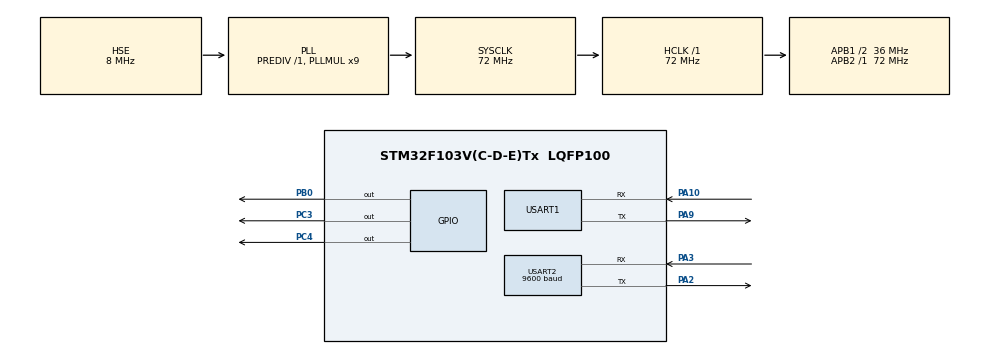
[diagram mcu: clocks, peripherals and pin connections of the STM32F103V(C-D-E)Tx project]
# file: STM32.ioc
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Dma.Request0=USART2_RX
Dma.Request1=USART2_TX
Dma.USART2_RX.0.Direction=DMA_PERIPH_TO_MEMORY
Dma.USART2_RX.0.Instance=DMA1_Channel6
Dma.USART2_RX.0.MemDataAlignment=DMA_MDATAALIGN_BYTE
Dma.USART2_RX.0.MemInc=DMA_MINC_ENABLE
Dma.USART2_RX.0.Mode=DMA_NORMAL
Dma.USART2_RX.0.PeriphDataAlignment=DMA_PDATAALIGN_BYTE
Dma.USART2_RX.0.PeriphInc=DMA_PINC_DISABLE
Dma.USART2_RX.0.Priority=DMA_PRIORITY_LOW
Dma.USART2_TX.1.Direction=DMA_MEMORY_TO_PERIPH
Dma.USART2_TX.1.Instance=DMA1_Channel7
Dma.USART2_TX.1.MemDataAlignment=DMA_MDATAALIGN_BYTE
Dma.USART2_TX.1.MemInc=DMA_MINC_ENABLE
Dma.USART2_TX.1.Mode=DMA_NORMAL
Dma.USART2_TX.1.PeriphDataAlignment=DMA_PDATAALIGN_BYTE
Dma.USART2_TX.1.PeriphInc=DMA_PINC_DISABLE
Dma.USART2_TX.1.Priority=DMA_PRIORITY_LOW
FREERTOS.Tasks01=defaultTask,0,128,StartDefaultTask,Default,NULL,Dynamic,NULL,NULL;myTask02,-3,128,StartTask02,Default,NULL,Dynamic,NULL,NULL;myTask03,-3,128,StartTask03,Default,NULL,Dynamic,NULL,NULL
Mcu.Family=STM32F1
Mcu.Name=STM32F103V(C-D-E)Tx
Mcu.Package=LQFP100
NVIC.DMA1_Channel6_IRQn=true\:5\:0\:false\:false\:true\:true\:false\:true
NVIC.DMA1_Channel7_IRQn=true\:5\:0\:false\:false\:true\:true\:false\:true
NVIC.PriorityGroup=NVIC_PRIORITYGROUP_4
NVIC.TIM1_UP_IRQn=true\:0\:0\:false\:false\:true\:false\:false\:true
NVIC.TIM2_IRQn=true\:5\:0\:false\:false\:true\:true\:true\:true
NVIC.TIM3_IRQn=true\:5\:0\:false\:false\:true\:true\:true\:true
NVIC.TimeBase=TIM1_UP_IRQn
NVIC.TimeBaseIP=TIM1
NVIC.USART1_IRQn=true\:5\:0\:false\:false\:true\:true\:true\:true
NVIC.USART2_IRQn=true\:5\:0\:false\:false\:true\:true\:true\:true
OSC_IN.Mode=HSE-External-Oscillator
OSC_IN.Signal=RCC_OSC_IN
OSC_OUT.Mode=HSE-External-Oscillator
OSC_OUT.Signal=RCC_OSC_OUT
PA10.Mode=Asynchronous
PA10.Signal=USART1_RX
PA2.Mode=Asynchronous
PA2.Signal=USART2_TX
PA3.Mode=Asynchronous
PA3.Signal=USART2_RX
PA9.Mode=Asynchronous
PA9.Signal=USART1_TX
PB0.Signal=GPIO_Output
PC3.Signal=GPIO_Output
PC4.Signal=GPIO_Output
ProjectManager.HeapSize=0x200
ProjectManager.StackSize=0x400
ProjectManager.TargetToolchain=MDK-ARM V5
RCC.AHBFreq_Value=72000000
RCC.APB1CLKDivider=RCC_HCLK_DIV2
RCC.APB1Freq_Value=36000000
RCC.APB1TimFreq_Value=72000000
RCC.APB2Freq_Value=72000000
RCC.APB2TimFreq_Value=72000000
RCC.HCLKFreq_Value=72000000
RCC.PLLMUL=RCC_PLL_MUL9
RCC.PLLSourceVirtual=RCC_PLLSOURCE_HSE
RCC.SYSCLKFreq_VALUE=72000000
RCC.SYSCLKSource=RCC_SYSCLKSOURCE_PLLCLK
RCC.USBFreq_Value=72000000
TIM2.AutoReloadPreload=TIM_AUTORELOAD_PRELOAD_ENABLE
TIM2.Period=1000-1
TIM2.Prescaler=72-1
TIM3.Period=1000-1
TIM3.Prescaler=72-1
USART1.VirtualMode=VM_ASYNC
USART2.BaudRate=9600
USART2.VirtualMode=VM_ASYNC
VP_FREERTOS_VS_CMSIS_V1.Mode=CMSIS_V1
VP_SYS_VS_ND.Mode=No_Debug
VP_SYS_VS_tim1.Mode=TIM1
VP_TIM2_VS_ClockSourceINT.Mode=Internal
VP_TIM3_VS_ClockSourceINT.Mode=Internal
board=custom

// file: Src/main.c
/* USER CODE BEGIN Header */
/**
  ******************************************************************************
  * @file           : main.c
  * @brief          : Main program body
  ******************************************************************************
  * @attention
  *
  * <h2><center>&copy; Copyright (c) 2019 STMicroelectronics.
  * All rights reserved.</center></h2>
  *
  * This software component is licensed by ST under Ultimate Liberty license
  * SLA0044, the "License"; You may not use this file except in compliance with
  * the License. You may obtain a copy of the License at:
  *                             www.st.com/SLA0044
  *
  ******************************************************************************
  */
/* USER CODE END Header */

//#include "main.h"
#include "cmsis_os.h"
#include "dma.h"
#include "tim.h"
#include "usart.h"
#include "gpio.h"

/* USER CODE BEGIN Includes */
//#include "tim.h"
//#include "queue.h"
/* USER CODE END Includes */

/* USER CODE BEGIN PTD */
	uint16_t time2s = 0;
	uint16_t time3s = 0;
	uint16_t counts = 0;
/* USER CODE END PTD */

void SystemClock_Config(void);
void MX_FREERTOS_Init(void);

int main(void)
{

  /* MCU Configuration--------------------------------------------------------*/

  /* Reset of all peripherals, Initializes the Flash interface and the Systick. */
  HAL_Init();

  /* Configure the system clock */
  SystemClock_Config();

  /* Initialize all configured peripherals */
  MX_GPIO_Init();
  MX_DMA_Init();
  MX_TIM2_Init();
  MX_TIM3_Init();
  MX_USART1_UART_Init();
  MX_USART2_UART_Init();
  /* USER CODE BEGIN 2 */
	//开启定时器2
	//清理TIM开启时的中断标识
	//__HAL_TIM_CLEAR_IT(&htim2,TIM_IT_UPDATE);
	//使能TIM中断
 	//HAL_TIM_Base_Start_IT(&htim2);

	//开启定时器3
		//清理TIM开启时的中断标识
	//__HAL_TIM_CLEAR_IT(&htim3,TIM_IT_UPDATE);
	//使能TIM中断
	//HAL_TIM_Base_Start_IT(&htim3);
  /* USER CODE END 2 */

  /* Call init function for freertos objects (in freertos.c) */
  MX_FREERTOS_Init();

  /* Start scheduler */
  osKernelStart();

  /* We should never get here as control is now taken by the scheduler */

  /* Infinite loop */
  while (1)
  {

  }
}

void SystemClock_Config(void)
{
  RCC_OscInitTypeDef RCC_OscInitStruct = {0};
  RCC_ClkInitTypeDef RCC_ClkInitStruct = {0};

  /** Initializes the CPU, AHB and APB busses clocks
  */
  RCC_OscInitStruct.OscillatorType = RCC_OSCILLATORTYPE_HSE;
  RCC_OscInitStruct.HSEState = RCC_HSE_ON;
  RCC_OscInitStruct.HSEPredivValue = RCC_HSE_PREDIV_DIV1;
  RCC_OscInitStruct.HSIState = RCC_HSI_ON;
  RCC_OscInitStruct.PLL.PLLState = RCC_PLL_ON;
  RCC_OscInitStruct.PLL.PLLSource = RCC_PLLSOURCE_HSE;
  RCC_OscInitStruct.PLL.PLLMUL = RCC_PLL_MUL9;
  if (HAL_RCC_OscConfig(&RCC_OscInitStruct) != HAL_OK)
  {
    Error_Handler();
  }
  /** Initializes the CPU, AHB and APB busses clocks
  */
  RCC_ClkInitStruct.ClockType = RCC_CLOCKTYPE_HCLK|RCC_CLOCKTYPE_SYSCLK
                              |RCC_CLOCKTYPE_PCLK1|RCC_CLOCKTYPE_PCLK2;
  RCC_ClkInitStruct.SYSCLKSource = RCC_SYSCLKSOURCE_PLLCLK;
  RCC_ClkInitStruct.AHBCLKDivider = RCC_SYSCLK_DIV1;
  RCC_ClkInitStruct.APB1CLKDivider = RCC_HCLK_DIV2;
  RCC_ClkInitStruct.APB2CLKDivider = RCC_HCLK_DIV1;

  if (HAL_RCC_ClockConfig(&RCC_ClkInitStruct, FLASH_LATENCY_2) != HAL_OK)
  {
    Error_Handler();
  }
}

void HAL_TIM_PeriodElapsedCallback(TIM_HandleTypeDef *htim)
{
  if (htim->Instance == TIM1) {
    HAL_IncTick();
  }
  /* USER CODE BEGIN Callback 1 */
	//开关中断测试
	/*
  if (htim->Instance == TIM2) {
	time2s ++;
	if(time2s == 1000)
	{
		counts ++;
		if(counts >=5)
		{
			portDISABLE_INTERRUPTS();
			printf("关闭中断…………! \r\n");
		}
	 if(counts >=10)
		{
			portENABLE_INTERRUPTS();
			printf("打开中断…………! \r\n");
			counts = 0;
		}
		printf("1S time out! \r\n");
		time2s=0;
	}
  }

	if (htim->Instance == TIM3) {
	time3s ++;
	if(time3s == 2000)
	{
		printf("2S time out! \r\n");
		time3s=0;
	}
  }*/
  /* USER CODE END Callback 1 */
}

void Error_Handler(void)
{
}

/************************ (C) COPYRIGHT STMicroelectronics *****END OF FILE****/

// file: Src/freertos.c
/* USER CODE BEGIN Header */
/**
  ******************************************************************************
  * File Name          : freertos.c
  * Description        : Code for freertos applications
  ******************************************************************************
  * @attention
  *
  * <h2><center>&copy; Copyright (c) 2019 STMicroelectronics.
  * All rights reserved.</center></h2>
  *
  * This software component is licensed by ST under Ultimate Liberty license
  * SLA0044, the "License"; You may not use this file except in compliance with
  * the License. You may obtain a copy of the License at:
  *                             www.st.com/SLA0044
  *
  ******************************************************************************
  */
/* USER CODE END Header */

#include "FreeRTOS.h"
#include "task.h"
#include "main.h"
#include "cmsis_os.h"

/* USER CODE BEGIN Includes */

#include "stdio.h"
#include "usart.h"
#include "string.h"
#include "at_commd.h"
//#include "Customer_queue.h"
/* USER CODE END Includes */

/* USER CODE BEGIN PTD */
//uint8_t Current_state;

/* USER CODE END PTD */

/* USER CODE BEGIN PD */
//用于存储AT命令的返回值，通过串口传递到任务
QueueHandle_t AT_Recive_Queue;

//用于存储AT命令返回值的处理结果，通过任务传递到下一个任务
QueueHandle_t AT_Result_Queue;

extern UART_HandleTypeDef huart1;

extern uint8_t rx_len;
extern uint8_t recv_end_flag;
extern uint8_t rx_buffer[BUFFER_SIZE];

/* USER CODE END PD */

osThreadId defaultTaskHandle;
osThreadId myTask02Handle;
osThreadId myTask03Handle;

void StartDefaultTask(void const * argument);
void StartTask02(void const * argument);
void StartTask03(void const * argument);

void MX_FREERTOS_Init(void); /* (MISRA C 2004 rule 8.1) */

void MX_FREERTOS_Init(void) {

  /* Create the thread(s) */
  /* definition and creation of defaultTask */
  osThreadDef(defaultTask, StartDefaultTask, osPriorityNormal, 0, 100);
  defaultTaskHandle = osThreadCreate(osThread(defaultTask), NULL);

  /* definition and creation of myTask02 */
  osThreadDef(myTask02, StartTask02, osPriorityLow, 0, 100);
  myTask02Handle = osThreadCreate(osThread(myTask02), NULL);

  /* definition and creation of myTask03 */
  osThreadDef(myTask03, StartTask03, osPriorityIdle, 0, 100);
  myTask03Handle = osThreadCreate(osThread(myTask03), NULL);

  /* USER CODE BEGIN RTOS_THREADS */
  /* add threads, ... */

	//创建队列，用于终中断往任务发送数据
	AT_Recive_Queue = xQueueCreate(AT_Recive_Queue_Num,BUFFER_SIZE);
	if(AT_Recive_Queue == NULL)
	{
		printf("Create AT_Recive Queue Failed!\r\n");
	}
	else
	{
		printf("Create AT_Recive Queue Succeed!\r\n");
	}
	//创建队列，用于任务与任务之间的传递，本例实现AT处理结果的通知
	AT_Result_Queue = xQueueCreate(AT_Result_Queue_Num,AT_Result_Queue_Size);
	if(AT_Result_Queue == NULL)
	{
		printf("Create AT_Result Queue Failed!\r\n");
	}
	else
	{
		printf("Create AT_Result Queue Succeed!\r\n");
	}
  /* USER CODE END RTOS_THREADS */

}

void StartDefaultTask(void const * argument)
{

  /* USER CODE BEGIN StartDefaultTask */
  /* Infinite loop */
  for(;;)
  {
 //   uint8_t Current_state = AT_OK;
//		printf("this is the first task1!\r\n");
//		printf("Current_state123=%d！\r\n",Current_state);
		printf("This is the Default Task!\r\n");
//		vTaskSuspend(NULL);
		osDelay(1000);
  }
  /* USER CODE END StartDefaultTask */
}

//uint8_t Recive_Buffer[BUFFER_SIZE];
void StartTask02(void const * argument)
{
  /* USER CODE BEGIN StartTask02 */
  /* Infinite loop */
  for(;;)
  {
		printf("This is the Task2!\r\n");

		ATE1();

//挂起自己，由串口中断唤醒。
			vTaskSuspend(NULL);
			osDelay(2000);
	}
  /* USER CODE END StartTask02 */
}

/* USER CODE BEGIN Header_StartTask03 */
/**
* @brief Function implementing the myTask03 thread.
* @param argument: Not used
* @retval None
*/

//用于接收队列结果
uint8_t AT_Return_Buffer[AT_Result_Queue_Size];
/* USER CODE END Header_StartTask03 */
void StartTask03(void const * argument)
{
  /* USER CODE BEGIN StartTask03 */
  /* Infinite loop */
  for(;;)
  {
    //获取AT处理结果，从AT_Result队列中获取信息
		//对信息结果做处理，并执行对应的函数
	//	Get_Netstat_Result();
		printf("This is the Task3!\r\n");
		Network();
		osDelay(2000);
	//	vTaskSuspend(NULL);
  }
  /* USER CODE END StartTask03 */
}

/* USER CODE BEGIN Application */

//void Get_Netstat_Result(void)
//{
//	//实现输入，接收结果
////	while(1)
////	{
//
//		uint8_t Current_state = Send_ATI_Commd();
//
//		//获取AT返回结果，并发送新的AT命令
//		if(AT_Result_Queue != NULL)
//		{
//
//			if(pdTRUE==xQueueReceive(AT_Result_Queue, AT_Return_Buffer,0))
//			{
//					printf("AT Result is %s\r\n",AT_Return_Buffer);
//				//if()
//			}
//			else
//			{
//				printf("Recive AT Result Fail!\r\n");
//			}
//
//		}
//		else
//		{
//			printf("Creat AT Result Queue Fail!\r\n");
//		}
//
//		//从AT 返回队列中获取当前AT状态
//
//
//		printf("Current_state=%d！\r\n",Current_state);
//		switch(Current_state)
//		{
//			case AT_OK:
//			Current_state = Send_ATE_Commd();
//			if(Current_state == ATE1_OK)
//			{
//				Current_state = ATI_OK;
//				printf("Current_state_ATE=%d！\r\n",Current_state);
//				printf("ATE1返回成功！\r\n");
//
//			}
//
//			break;
//
//			case ATI_OK:
//			Current_state = Send_ATI_Commd();
//			if(Current_state == ATI_OK)
//			{
//				printf("Current_state_ATI=%d！\r\n",Current_state);
//				Current_state = ATI_OK;
//			}
//			break;
//
////			case ATI_OK:
////			printf("ATI返回成功！\r\n");
////			break;
//
//			default:
//			printf("Report The Other URC!\r\n");
//	}
//
//}

/* USER CODE END Application */

/************************ (C) COPYRIGHT STMicroelectronics *****END OF FILE****/
